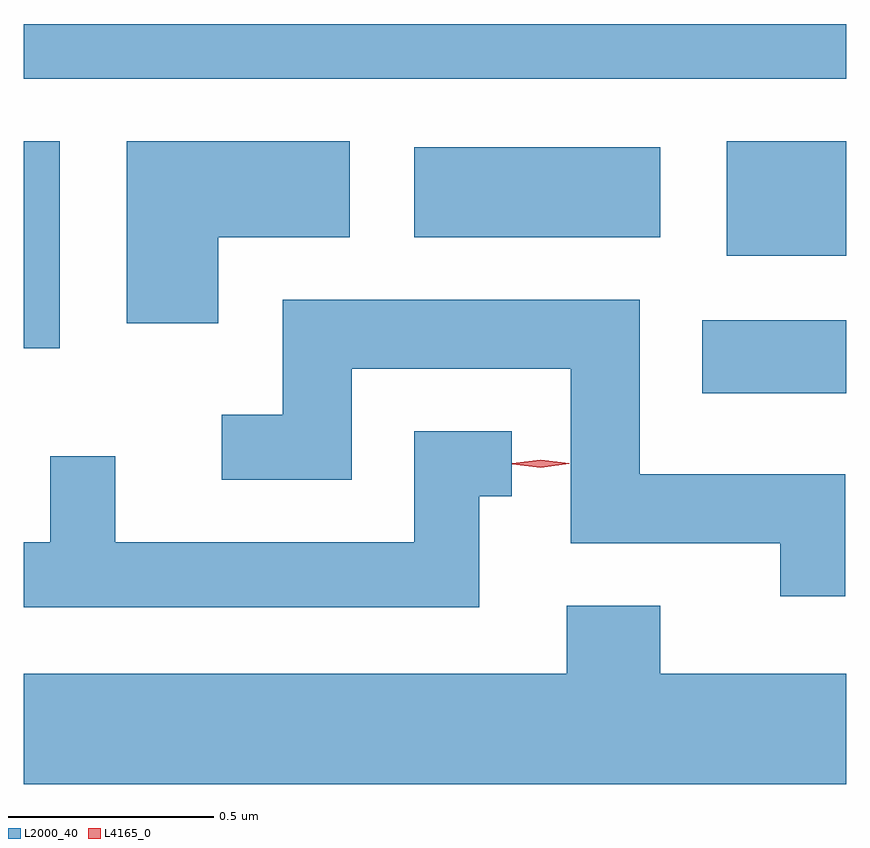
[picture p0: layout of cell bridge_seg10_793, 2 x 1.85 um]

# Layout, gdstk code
import gdstk
lib = gdstk.Library(unit=1e-6, precision=1e-09)
def R(c, l, rs):  # rectangles x0, y0, x1, y1
    for r in rs: c.add(gdstk.rectangle(r[:2], r[2:], *l))
def P(c, l, *ps):  # polygons
    for p in ps: c.add(gdstk.Polygon(p, *l))
L2000_40 = (2000, 40)
L4165_0 = (4165, 0)

bridge_seg10_793 = lib.new_cell('bridge_seg10_793')
R(bridge_seg10_793, L2000_40, [(599.331,2150.386,599.681,2150.564), (597.681,2150.496,597.769,2150.999), (599.391,2150.721,599.681,2150.999), (598.631,2150.766,599.229,2150.984), (597.681,2151.151,599.681,2151.284)])
P(bridge_seg10_793, L2000_40, [(598.154,2150.766),(598.474,2150.766),(598.474,2150.999),(597.931,2150.999),(597.931,2150.556),(598.154,2150.556)],
  [(599.679,2150.189),(599.179,2150.189),(599.179,2150.614),(598.311,2150.614),(598.311,2150.334),(598.163,2150.334),(598.163,2150.176),(598.479,2150.176),(598.479,2150.446),(599.011,2150.446),(599.011,2150.021),(599.521,2150.021),(599.521,2149.893),(599.679,2149.893)],
  [(598.789,2150.136),(598.868,2150.136),(598.868,2150.294),(598.631,2150.294),(598.631,2150.024),(597.904,2150.024),(597.904,2150.233),(597.746,2150.233),(597.746,2150.024),(597.681,2150.024),(597.681,2149.866),(598.789,2149.866)],
  [(599.681,2149.704),(599.229,2149.704),(599.229,2149.869),(599.001,2149.869),(599.001,2149.704),(597.681,2149.704),(597.681,2149.436),(599.681,2149.436)])
P(bridge_seg10_793, L4165_0, [(598.938,2150.205),(598.869,2150.214),(598.869,2150.215),(598.869,2150.216),(598.938,2150.225),(599.008,2150.216),(599.008,2150.216),(599.008,2150.215)])

lib.write_gds('bridge_seg10_793.gds')
